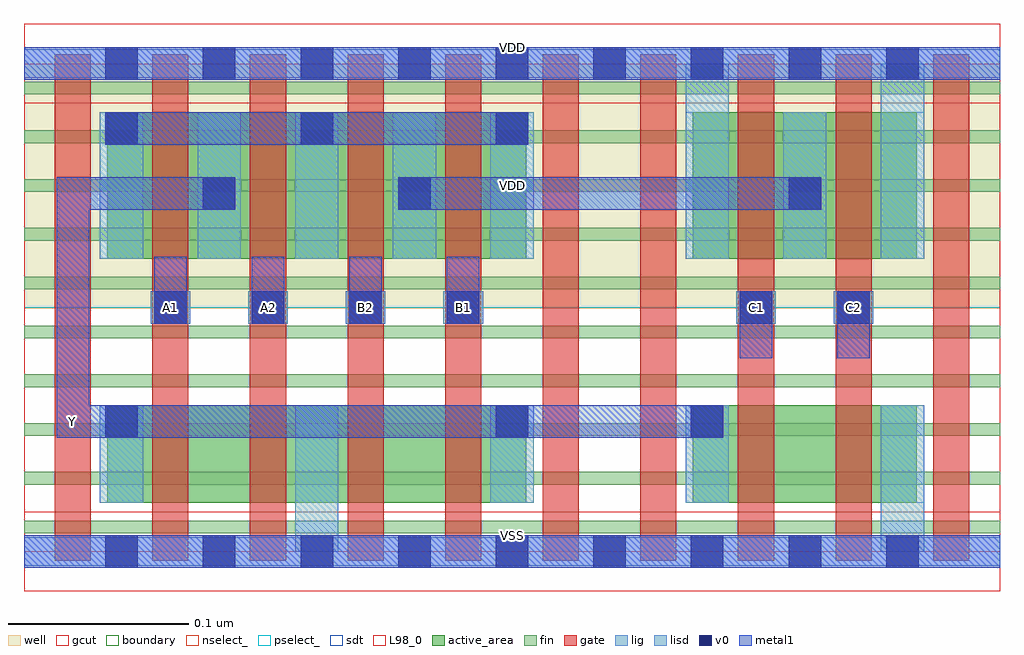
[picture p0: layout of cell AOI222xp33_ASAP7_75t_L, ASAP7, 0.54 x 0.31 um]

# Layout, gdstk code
import gdstk
lib = gdstk.Library(unit=1e-6, precision=2.5e-10)
def R(c, l, rs):  # rectangles x0, y0, x1, y1
    for r in rs: c.add(gdstk.rectangle(r[:2], r[2:], *l))
def A(c, l, x, y, w, h, nx, ny, dx, dy):  # array of equal rectangles
    R(c, l, [(x+i*dx, y+j*dy, x+i*dx+w, y+j*dy+h) for i in range(nx) for j in range(ny)])
def P(c, l, *ps):  # polygons
    for p in ps: c.add(gdstk.Polygon(p, *l))
well = (1, 0)
fin = (2, 0)
gate = (7, 0)
gcut = (10, 0)
active_area = (11, 0)
nselect_ = (12, 0)
pselect_ = (13, 0)
lig = (16, 0)
lisd = (17, 0)
v0 = (18, 0)
metal1 = (19, 0)
sdt = (88, 0)
L98_0 = (98, 0)
boundary = (100, 0)

aoi222xp33_asap7_75t_l = lib.new_cell('AOI222xp33_ASAP7_75t_L')
R(aoi222xp33_asap7_75t_l, well, [(0,0.135,0.54,0.27)])
A(aoi222xp33_asap7_75t_l, fin, 0, 0.01, 0.54, 0.007, 1, 10, 0, 0.027)
A(aoi222xp33_asap7_75t_l, gate, 0.017, -0.005, 0.02, 0.28, 10, 1, 0.054, 0)
R(aoi222xp33_asap7_75t_l, gcut, [(0,-0.022,0.54,0.022), (0,0.248,0.54,0.292)])
R(aoi222xp33_asap7_75t_l, active_area, [(0.046,0.027,0.278,0.081), (0.37,0.027,0.494,0.081), (0.046,0.162,0.278,0.243), (0.37,0.162,0.494,0.243)])
R(aoi222xp33_asap7_75t_l, nselect_, [(0,0,0.54,0.135)])
R(aoi222xp33_asap7_75t_l, pselect_, [(0,0.135,0.54,0.27)])
A(aoi222xp33_asap7_75t_l, lig, 0.07, 0.126, 0.022, 0.018, 4, 1, 0.054, 0)
R(aoi222xp33_asap7_75t_l, lig, [(0,-0.008,0.54,0.008), (0.394,0.126,0.416,0.144), (0.448,0.126,0.47,0.144), (0,0.262,0.54,0.278)])
A(aoi222xp33_asap7_75t_l, lisd, 0.042, 0.162, 0.024, 0.081, 5, 1, 0.054, 0)
R(aoi222xp33_asap7_75t_l, lisd, [(0.15,0,0.174,0.081), (0.15,0,0.174,0.081), (0.474,0,0.498,0.081), (0.474,0,0.498,0.081), (0.042,0.027,0.066,0.081), (0.258,0.027,0.282,0.081), (0.366,0.027,0.39,0.081), (0.366,0.162,0.39,0.27), (0.366,0.162,0.39,0.27), (0.42,0.162,0.444,0.243), (0.474,0.162,0.498,0.27), (0.474,0.162,0.498,0.27)])
A(aoi222xp33_asap7_75t_l, v0, 0.045, -0.009, 0.018, 0.018, 9, 2, 0.054, 0.27)
A(aoi222xp33_asap7_75t_l, v0, 0.072, 0.126, 0.018, 0.018, 4, 1, 0.054, 0)
A(aoi222xp33_asap7_75t_l, v0, 0.045, 0.225, 0.018, 0.018, 3, 1, 0.108, 0)
R(aoi222xp33_asap7_75t_l, v0, [(0.045,0.063,0.063,0.081), (0.261,0.063,0.279,0.081), (0.369,0.063,0.387,0.081), (0.396,0.126,0.414,0.144), (0.45,0.126,0.468,0.144), (0.099,0.189,0.117,0.207), (0.207,0.189,0.225,0.207), (0.423,0.189,0.441,0.207)])
A(aoi222xp33_asap7_75t_l, metal1, 0.072, 0.126, 0.018, 0.018, 4, 1, 0.054, 0)
A(aoi222xp33_asap7_75t_l, metal1, 0.072, 0.126, 0.018, 0.037, 4, 1, 0.054, 0)
A(aoi222xp33_asap7_75t_l, metal1, 0.045, 0.225, 0.018, 0.018, 3, 1, 0.108, 0)
R(aoi222xp33_asap7_75t_l, metal1, [(0,-0.009,0.54,0.009), (0.045,0.063,0.063,0.081), (0.261,0.063,0.279,0.081), (0.369,0.063,0.387,0.081), (0.396,0.107,0.414,0.144), (0.45,0.107,0.468,0.144), (0.396,0.126,0.414,0.144), (0.45,0.126,0.468,0.144), (0.099,0.189,0.117,0.207), (0.207,0.189,0.225,0.207), (0.207,0.189,0.441,0.207), (0.423,0.189,0.441,0.207), (0.045,0.225,0.279,0.243), (0,0.261,0.54,0.279)])
P(aoi222xp33_asap7_75t_l, metal1, [(0.036,0.189),(0.117,0.189),(0.117,0.207),(0.018,0.207),(0.018,0.063),(0.387,0.063),(0.387,0.081),(0.036,0.081)])
A(aoi222xp33_asap7_75t_l, sdt, 0.15, 0.027, 0.024, 0.054, 4, 1, 0.108, 0)
A(aoi222xp33_asap7_75t_l, sdt, 0.042, 0.162, 0.024, 0.081, 5, 1, 0.054, 0)
A(aoi222xp33_asap7_75t_l, sdt, 0.366, 0.162, 0.024, 0.081, 3, 1, 0.054, 0)
R(aoi222xp33_asap7_75t_l, sdt, [(0.042,0.027,0.066,0.081), (0.15,0.027,0.174,0.081), (0.474,0.027,0.498,0.081), (0.366,0.162,0.39,0.243), (0.474,0.162,0.498,0.243)])
R(aoi222xp33_asap7_75t_l, L98_0, [(0,0,0.54,0.27)])
R(aoi222xp33_asap7_75t_l, boundary, [(0,0,0.54,0.27)])
aoi222xp33_asap7_75t_l.add(gdstk.Label('VDD', (0.27,0.2025), layer=1, texttype=251))
aoi222xp33_asap7_75t_l.add(gdstk.Label('VSS', (0.27,-0.0675), layer=3, texttype=251))
aoi222xp33_asap7_75t_l.add(gdstk.Label('VSS', (0.27,0.009), layer=19, texttype=251))
aoi222xp33_asap7_75t_l.add(gdstk.Label('VDD', (0.27,0.279), layer=19, texttype=251))
aoi222xp33_asap7_75t_l.add(gdstk.Label('Y', (0.027,0.072), layer=19, texttype=251))
aoi222xp33_asap7_75t_l.add(gdstk.Label('A1', (0.081,0.135), layer=19, texttype=251))
aoi222xp33_asap7_75t_l.add(gdstk.Label('A2', (0.135,0.135), layer=19, texttype=251))
aoi222xp33_asap7_75t_l.add(gdstk.Label('B2', (0.189,0.135), layer=19, texttype=251))
aoi222xp33_asap7_75t_l.add(gdstk.Label('B1', (0.243,0.135), layer=19, texttype=251))
aoi222xp33_asap7_75t_l.add(gdstk.Label('C1', (0.405,0.135), layer=19, texttype=251))
aoi222xp33_asap7_75t_l.add(gdstk.Label('C2', (0.459,0.135), layer=19, texttype=251))

lib.write_gds('AOI222xp33_ASAP7_75t_L.gds')
